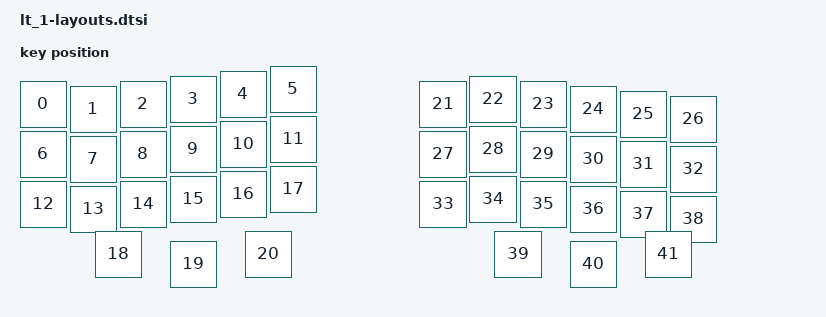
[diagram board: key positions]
// See https://zmk.dev/docs/development/hardware-integration/physical-layouts
// for how to configure this.

#include <physical_layouts.dtsi>

/ {
    default_layout: default_layout {
        compatible = "zmk,physical-layout";
        display-name = "Default Layout";
        transform = <&default_transform>;
        kscan = <&kscan>;

        // Edit this to define the positions and sizes of the keys, or remove it
        // if your keyboard will not support ZMK Studio.
        // https://zmk.dev/docs/development/hardware-integration/physical-layouts#optional-keys-property
        keys  //                     w   h    x    y     rot    rx    ry
// LEFT HALF (columns 0–5)
        = <&key_physical_attrs 100 100   0   0 0 0 0>
        , <&key_physical_attrs 100 100 100  10 0 0 0>
        , <&key_physical_attrs 100 100 200   0 0 0 0>
        , <&key_physical_attrs 100 100 300 -10 0 0 0>
        , <&key_physical_attrs 100 100 400 -20 0 0 0>
        , <&key_physical_attrs 100 100 500 -30 0 0 0>

        , <&key_physical_attrs 100 100   0 100 0 0 0>
        , <&key_physical_attrs 100 100 100 110 0 0 0>
        , <&key_physical_attrs 100 100 200 100 0 0 0>
        , <&key_physical_attrs 100 100 300  90 0 0 0>
        , <&key_physical_attrs 100 100 400  80 0 0 0>
        , <&key_physical_attrs 100 100 500  70 0 0 0>
        
        , <&key_physical_attrs 100 100   0 200 0 0 0>
        , <&key_physical_attrs 100 100 100 210 0 0 0>
        , <&key_physical_attrs 100 100 200 200 0 0 0>
        , <&key_physical_attrs 100 100 300 190 0 0 0>
        , <&key_physical_attrs 100 100 400 180 0 0 0>
        , <&key_physical_attrs 100 100 500 170 0 0 0>

// LEFT THUMBS
        , <&key_physical_attrs 100 100 150 300 0 0 0>
        , <&key_physical_attrs 100 100 300 320 0 0 0>
        , <&key_physical_attrs 100 100 450 300 0 0 0>

// RIGHT HALF (offset by +800)
        , <&key_physical_attrs 100 100 800   0 0 0 0>
        , <&key_physical_attrs 100 100 900 -10 0 0 0>
        , <&key_physical_attrs 100 100 1000   0 0 0 0>
        , <&key_physical_attrs 100 100 1100  10 0 0 0>
        , <&key_physical_attrs 100 100 1200  20 0 0 0>
        , <&key_physical_attrs 100 100 1300  30 0 0 0>
        
        , <&key_physical_attrs 100 100 800 100 0 0 0>
        , <&key_physical_attrs 100 100 900  90 0 0 0>
        , <&key_physical_attrs 100 100 1000 100 0 0 0>
        , <&key_physical_attrs 100 100 1100 110 0 0 0>
        , <&key_physical_attrs 100 100 1200 120 0 0 0>
        , <&key_physical_attrs 100 100 1300 130 0 0 0>
        
        , <&key_physical_attrs 100 100 800 200 0 0 0>
        , <&key_physical_attrs 100 100 900 190 0 0 0>
        , <&key_physical_attrs 100 100 1000 200 0 0 0>
        , <&key_physical_attrs 100 100 1100 210 0 0 0>
        , <&key_physical_attrs 100 100 1200 220 0 0 0>
        , <&key_physical_attrs 100 100 1300 230 0 0 0>

// RIGHT THUMBS
        , <&key_physical_attrs 100 100 950 300 0 0 0>
        , <&key_physical_attrs 100 100 1100 320 0 0 0>
        , <&key_physical_attrs 100 100 1250 300 0 0 0>
    ;
    };
};
